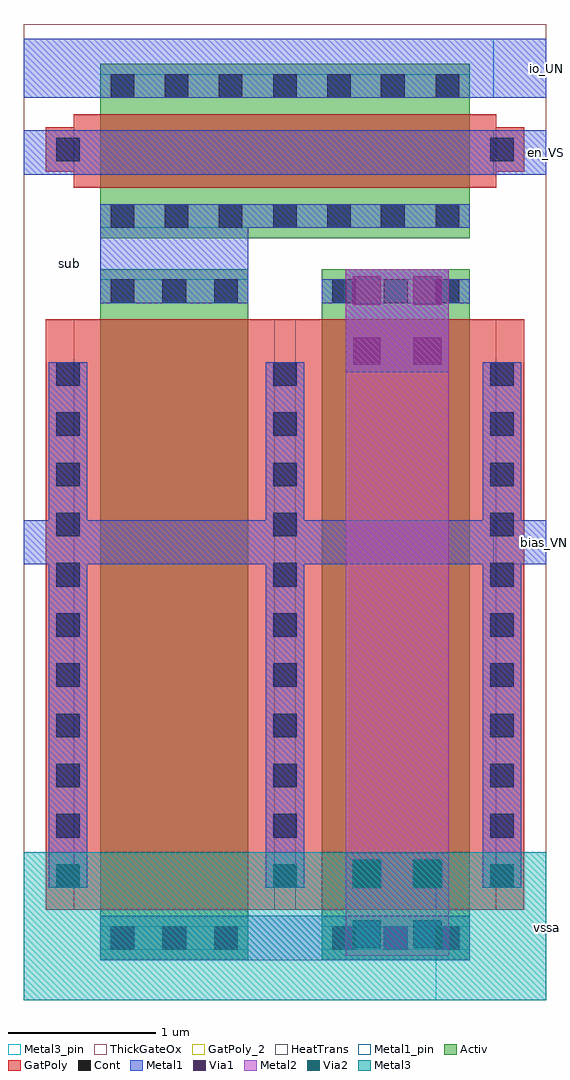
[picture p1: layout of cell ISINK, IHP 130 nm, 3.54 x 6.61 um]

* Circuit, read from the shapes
.subckt ISINK bias_VN en_VS io_UN vssa
XM1 n1 bias_VN n2 VSUBS sg13_hv_nmos w=1u l=4u
XM2 io_UN en_VS n1 VSUBS sg13_hv_nmos w=2.5u l=0.5u
XM3 vssa bias_VN n2 VSUBS sg13_hv_nmos w=1u l=4u
.ends

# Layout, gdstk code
from math import pi, radians
import gdstk
lib = gdstk.Library(unit=1e-6, precision=1e-09)
def R(c, l, rs):  # rectangles x0, y0, x1, y1
    for r in rs: c.add(gdstk.rectangle(r[:2], r[2:], *l))
def A(c, l, x, y, w, h, nx, ny, dx, dy):  # array of equal rectangles
    R(c, l, [(x+i*dx, y+j*dy, x+i*dx+w, y+j*dy+h) for i in range(nx) for j in range(ny)])
Activ = (1, 0)
GatPoly = (5, 0)
GatPoly_2 = (5, 2)
Cont = (6, 0)
Metal1 = (8, 0)
Metal1_pin = (8, 2)
Metal2 = (10, 0)
Via1 = (19, 0)
Via2 = (29, 0)
Metal3 = (30, 0)
Metal3_pin = (30, 2)
ThickGateOx = (44, 0)
HeatTrans = (51, 0)

nmoshv_21_1 = lib.new_cell('nmosHV$21$1')
R(nmoshv_21_1, Activ, [(0,0,0.3,0.3), (0,0,1.18,2.5), (0.88,0,1.18,0.3)])
R(nmoshv_21_1, GatPoly, [(0.34,-0.18,0.84,2.68)])
R(nmoshv_21_1, GatPoly_2, [(0.34,-0.18,0.84,2.68)])
A(nmoshv_21_1, Cont, 0.07, 0.07, 0.16, 0.16, 1, 3, 0, 0.365)
A(nmoshv_21_1, Cont, 0.95, 0.07, 0.16, 0.16, 1, 3, 0, 0.365)
A(nmoshv_21_1, Cont, 0.07, 1.17, 0.16, 0.16, 1, 3, 0, 0.365)
A(nmoshv_21_1, Cont, 0.95, 1.17, 0.16, 0.16, 1, 3, 0, 0.365)
R(nmoshv_21_1, Cont, [(0.07,2.27,0.23,2.43), (0.95,2.27,1.11,2.43)])
R(nmoshv_21_1, Metal1, [(0.07,0,0.23,2.5), (0.95,0,1.11,2.5)])
R(nmoshv_21_1, Metal1_pin, [(0.07,0,0.23,2.5), (0.95,0,1.11,2.5)])
R(nmoshv_21_1, ThickGateOx, [(-0.27,-0.52,1.45,3.02)])
R(nmoshv_21_1, HeatTrans, [(0.34,-0.18,0.84,2.68)])
nmoshv_21_1.add(gdstk.Label('nmosHV', (0.59,1.25), layer=63, texttype=0))
nmoshv_21_1.add(gdstk.Label('nmosHV', (0.59,1.25), layer=51, texttype=0))

nmoshv_15 = lib.new_cell('nmosHV$15')
R(nmoshv_15, Activ, [(0,0,0.3,0.3), (0,0,4.68,1), (4.38,0,4.68,0.3)])
R(nmoshv_15, GatPoly, [(0.34,-0.18,4.34,1.18)])
R(nmoshv_15, GatPoly_2, [(0.34,-0.18,4.34,1.18)])
A(nmoshv_15, Cont, 0.07, 0.07, 0.16, 0.16, 1, 3, 0, 0.35)
A(nmoshv_15, Cont, 4.45, 0.07, 0.16, 0.16, 1, 3, 0, 0.35)
R(nmoshv_15, Metal1, [(0.07,0,0.23,1), (4.45,0,4.61,1)])
R(nmoshv_15, Metal1_pin, [(0.07,0,0.23,1), (4.45,0,4.61,1)])
R(nmoshv_15, ThickGateOx, [(-0.27,-0.52,4.95,1.52)])
R(nmoshv_15, HeatTrans, [(0.34,-0.18,4.34,1.18)])
nmoshv_15.add(gdstk.Label('nmosHV', (2.34,0.5), layer=63, texttype=0))
nmoshv_15.add(gdstk.Label('nmosHV', (2.34,0.5), layer=51, texttype=0))

viagpcont_m1 = lib.new_cell('ViaGPCont_M1')
R(viagpcont_m1, GatPoly, [(-0.15,-0.15,0.15,0.15), (-0.15,-0.15,0.15,0.15)])
R(viagpcont_m1, Cont, [(-0.08,-0.08,0.08,0.08)])
R(viagpcont_m1, Metal1, [(-0.13,-0.08,0.13,0.08)])

viagpcont_m1_6 = lib.new_cell('ViaGPCont_M1$6')
R(viagpcont_m1_6, GatPoly, [(-0.15,-1.85,0.15,1.85), (-0.15,-1.85,0.15,1.85)])
A(viagpcont_m1_6, Cont, -0.08, -1.78, 0.16, 0.16, 1, 11, 0, 0.34)
R(viagpcont_m1_6, Metal1, [(-0.13,-1.78,0.13,1.78)])

via_stack_43_1 = lib.new_cell('via_stack$43$1')
R(via_stack_43_1, Metal2, [(-0.35,-0.35,0.35,0.35)])
R(via_stack_43_1, Via2, [(-0.3,-0.3,-0.11,-0.11), (0.11,-0.3,0.3,-0.11), (-0.3,0.11,-0.11,0.3), (0.11,0.11,0.3,0.3)])
R(via_stack_43_1, Metal3, [(-0.35,-0.35,0.35,0.35)])

via_stack_44_1 = lib.new_cell('via_stack$44$1')
R(via_stack_44_1, Metal1, [(-0.35,-0.35,0.35,0.35)])
R(via_stack_44_1, Metal2, [(-0.35,-0.35,0.35,0.35)])
R(via_stack_44_1, Via1, [(-0.3,-0.3,-0.11,-0.11), (0.11,-0.3,0.3,-0.11), (-0.3,0.11,-0.11,0.3), (0.11,0.11,0.3,0.3)])

isink = lib.new_cell('ISINK')
R(isink, GatPoly, [(-0.07,6.67,3.17,10.67)])
R(isink, Metal1, [(0.3,10.94,1.3,11.29)])
isink.add(gdstk.FlexPath([(-0.22,12.37),(3.32,12.37)], 0.4, ends="flush", simple_path=True, layer=8, datatype=0))  # Metal1
isink.add(gdstk.FlexPath([(-0.22,11.8),(3.32,11.8)], 0.3, ends="flush", simple_path=True, layer=8, datatype=0))  # Metal1
isink.add(gdstk.FlexPath([(-0.22,9.16),(3.32,9.16)], 0.3, ends="flush", simple_path=True, layer=8, datatype=0))  # Metal1
isink.add(gdstk.FlexPath([(0.3,6.48),(2.8,6.48)], 0.3, ends="flush", simple_path=True, layer=8, datatype=0))  # Metal1
isink.add(gdstk.FlexPath([(3.32,12.37),(2.96,12.37)], 0.4, ends="flush", simple_path=True, layer=8, datatype=2))  # Metal1_pin
isink.add(gdstk.FlexPath([(3.32,11.8),(2.96,11.8)], 0.3, ends="flush", simple_path=True, layer=8, datatype=2))  # Metal1_pin
isink.add(gdstk.FlexPath([(3.32,9.16),(2.96,9.16)], 0.3, ends="flush", simple_path=True, layer=8, datatype=2))  # Metal1_pin
isink.add(gdstk.FlexPath([(2.31,11.01),(2.31,6.4)], 0.7, ends="flush", simple_path=True, layer=10, datatype=0))  # Metal2
isink.add(gdstk.FlexPath([(-0.22,6.56),(3.32,6.56)], 1, ends="flush", simple_path=True, layer=30, datatype=0))  # Metal3
isink.add(gdstk.FlexPath([(3.32,6.56),(2.57,6.56)], 1, ends="flush", simple_path=True, layer=30, datatype=2))  # Metal3_pin
r = gdstk.Reference(nmoshv_21_1, (0.3,12.4), rotation=3*pi/2); r.repetition = gdstk.Repetition(1, 1, v1=(0,0), v2=(0,0)); isink.add(r)
r = gdstk.Reference(nmoshv_15, (1.8,11.01), rotation=3*pi/2); r.repetition = gdstk.Repetition(1, 1, v1=(0,0), v2=(0,0)); isink.add(r)
r = gdstk.Reference(nmoshv_15, (0.3,11.01), rotation=3*pi/2); r.repetition = gdstk.Repetition(1, 1, v1=(0,0), v2=(0,0)); isink.add(r)
r = gdstk.Reference(viagpcont_m1, (0.08,11.82), rotation=pi/2); r.repetition = gdstk.Repetition(1, 1, v1=(0,0), v2=(0,0)); isink.add(r)
r = gdstk.Reference(viagpcont_m1_6, (0.08,8.6)); r.repetition = gdstk.Repetition(3, 1, v1=(1.47,0), v2=(0,0)); isink.add(r)
r = gdstk.Reference(via_stack_43_1, (2.31,6.71)); r.repetition = gdstk.Repetition(1, 1, v1=(0,0), v2=(0,0)); isink.add(r)
r = gdstk.Reference(via_stack_44_1, (2.31,10.66)); r.repetition = gdstk.Repetition(1, 1, v1=(0,0), v2=(0,0)); isink.add(r)
r = gdstk.Reference(viagpcont_m1, (3.02,11.82), rotation=pi/2); r.repetition = gdstk.Repetition(1, 1, v1=(0,0), v2=(0,0)); isink.add(r)
isink.add(gdstk.Label('sub', (0.09,11.045), layer=63, texttype=0))
isink.add(gdstk.Label('vssa', (3.32,6.55), layer=30, texttype=25))
isink.add(gdstk.Label('io_UN', (3.32,12.37), layer=8, texttype=25))
isink.add(gdstk.Label('en_VS', (3.32,11.8), layer=8, texttype=25))
isink.add(gdstk.Label('bias_VN', (3.32,9.16), layer=8, texttype=25))

lib.write_gds('ISINK.gds')
